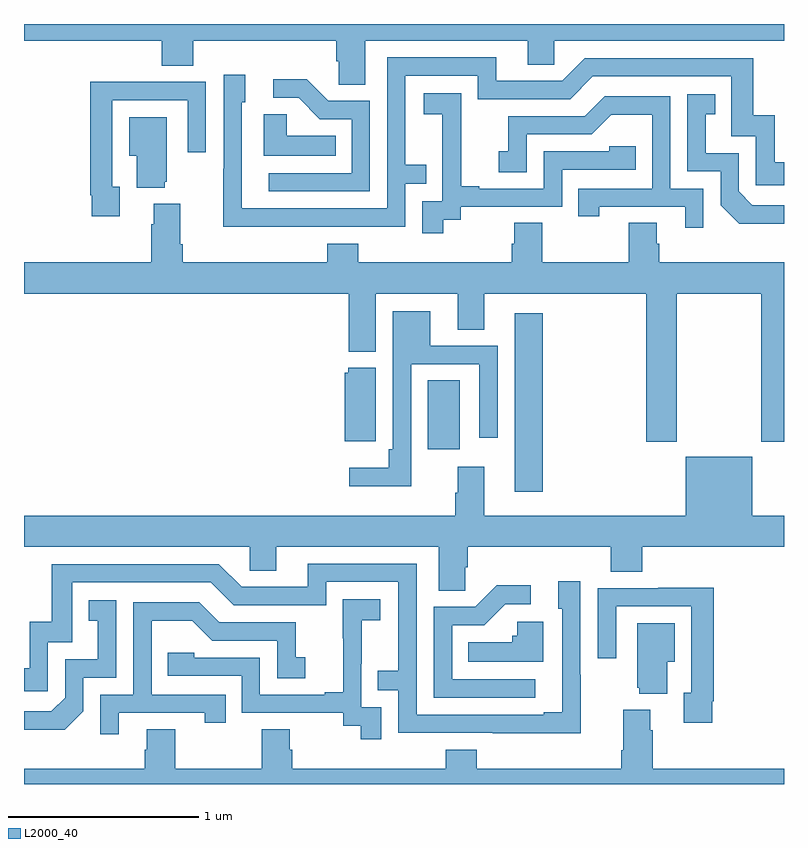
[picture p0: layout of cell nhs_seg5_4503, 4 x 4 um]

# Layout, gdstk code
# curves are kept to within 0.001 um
import gdstk
lib = gdstk.Library(unit=1e-6, precision=1e-09)
def R(c, l, rs):  # rectangles x0, y0, x1, y1
    for r in rs: c.add(gdstk.rectangle(r[:2], r[2:], *l))
def P(c, l, *ps):  # polygons
    for p in ps: c.add(gdstk.Polygon(p, *l))
L2000_40 = (2000, 40)

nhs_seg5_4503 = lib.new_cell('nhs_seg5_4503')
R(nhs_seg5_4503, L2000_40, [(377.582,902.337,377.729,903.277), (377.126,902.562,377.293,902.924)])
P(nhs_seg5_4503, L2000_40, [(376.795,904.712),(377.651,904.712),(377.651,904.585),(377.79,904.585),(377.79,904.712),(379,904.712),(379,904.799),(375,904.799),(375,904.712),(375.725,904.712),(375.725,904.579),(375.89,904.579),(375.89,904.712),(376.643,904.712),(376.643,904.603),(376.656,904.603),(376.656,904.48),(376.795,904.48)],
  [(376.511,903.732),(377.007,903.732),(377.007,903.957),(377.117,903.957),(377.117,904.058),(377.007,904.058),(377.007,904.527),(377.388,904.527),(377.388,904.404),(377.874,904.404),(377.994,904.524),(378.723,904.524),(378.723,904.209),(378.852,904.209),(378.852,903.951),(379,903.951),(379,904.071),(378.95,904.071),(378.95,904.318),(378.839,904.318),(378.839,904.62),(377.952,904.62),(377.832,904.5),(377.485,904.5),(377.485,904.623),(376.911,904.623),(376.911,903.828),(376.146,903.828),(376.146,904.386),(376.165,904.386),(376.165,904.531),(376.05,904.531),(376.05,904.037),(376.048,904.037),(376.048,903.731)],
  [(376.821,904.395),(376.602,904.395),(376.489,904.508),(376.311,904.508),(376.311,904.41),(376.445,904.41),(376.556,904.299),(376.725,904.299),(376.725,904.014),(376.287,904.014),(376.287,903.918),(376.821,903.918)],
  [(375.505,903.942),(375.465,903.942),(375.465,904.398),(375.861,904.398),(375.861,904.125),(375.957,904.125),(375.957,904.494),(375.641,904.494),(375.641,904.496),(375.349,904.496),(375.349,903.898),(375.357,903.898),(375.357,903.786),(375.505,903.786)],
  [(377.206,903.769),(377.298,903.769),(377.298,903.837),(377.832,903.837),(377.832,904.032),(378.221,904.032),(378.221,904.155),(378.081,904.155),(378.081,904.128),(377.736,904.128),(377.736,903.933),(377.395,903.933),(377.395,903.946),(377.3,903.946),(377.3,904.229),(377.301,904.229),(377.301,904.435),(377.103,904.435),(377.103,904.325),(377.201,904.325),(377.201,904.097),(377.202,904.097),(377.202,903.867),(377.097,903.867),(377.097,903.699),(377.206,903.699)],
  [(379,903.846),(378.834,903.846),(378.762,903.918),(378.762,904.119),(378.589,904.119),(378.589,904.323),(378.638,904.323),(378.638,904.429),(378.492,904.429),(378.492,904.023),(378.666,904.023),(378.666,903.846),(378.764,903.749),(379,903.749)],
  [(378.576,903.933),(378.402,903.933),(378.402,904.419),(378.056,904.419),(377.951,904.314),(377.548,904.314),(377.548,904.129),(377.499,904.129),(377.499,904.02),(377.646,904.02),(377.646,904.218),(377.988,904.218),(378.092,904.322),(378.306,904.322),(378.306,903.933),(377.917,903.933),(377.917,903.786),(378.028,903.786),(378.028,903.837),(378.479,903.837),(378.479,903.726),(378.576,903.726)],
  [(376.64,904.21),(376.383,904.21),(376.383,904.325),(376.262,904.325),(376.262,904.106),(376.64,904.106)],
  [(375.74,903.969),(375.751,903.969),(375.751,904.309),(375.554,904.309),(375.554,904.106),(375.593,904.106),(375.593,903.938),(375.74,903.938)],
  [(378.275,902.601),(378.435,902.601),(378.435,903.38),(378.88,903.38),(378.88,902.601),(379,902.601),(379,903.544),(378.344,903.544),(378.344,903.642),(378.331,903.642),(378.331,903.752),(378.184,903.752),(378.184,903.544),(377.727,903.544),(377.727,903.752),(377.579,903.752),(377.579,903.642),(377.567,903.642),(377.567,903.544),(376.76,903.544),(376.76,903.643),(376.595,903.643),(376.595,903.544),(375.836,903.544),(375.836,903.64),(375.823,903.64),(375.823,903.853),(375.683,903.853),(375.683,903.746),(375.671,903.746),(375.671,903.544),(375,903.544),(375,903.38),(376.709,903.38),(376.709,903.074),(376.852,903.074),(376.852,903.38),(377.282,903.38),(377.282,903.19),(377.422,903.19),(377.422,903.38),(378.275,903.38)],
  [(377.037,903.009),(377.397,903.009),(377.397,902.622),(377.493,902.622),(377.493,903.105),(377.137,903.105),(377.137,903.286),(376.941,903.286),(376.941,902.56),(376.921,902.56),(376.921,902.464),(376.713,902.464),(376.713,902.366),(377.037,902.366)],
  [(376.852,902.989),(376.707,902.989),(376.707,902.964),(376.688,902.964),(376.688,902.603),(376.852,902.603)],
  [(377.322,901.939),(377.336,901.939),(377.336,902.048),(378.089,902.048),(378.089,901.915),(378.254,901.915),(378.254,902.048),(379,902.048),(379,902.212),(378.832,902.212),(378.832,902.521),(378.482,902.521),(378.482,902.212),(377.422,902.212),(377.422,902.47),(377.282,902.47),(377.282,902.333),(377.27,902.333),(377.27,902.212),(375,902.212),(375,902.048),(376.188,902.048),(376.188,901.921),(376.327,901.921),(376.327,902.048),(377.183,902.048),(377.183,901.816),(377.322,901.816)],
  [(377.931,901.373),(377.928,901.373),(377.928,901.867),(377.813,901.867),(377.813,901.722),(377.832,901.722),(377.832,901.177),(377.735,901.177),(377.735,901.164),(377.067,901.164),(377.067,901.959),(376.493,901.959),(376.493,901.836),(376.146,901.836),(376.026,901.956),(375.147,901.956),(375.147,901.654),(375.029,901.654),(375.029,901.407),(375,901.407),(375,901.287),(375.126,901.287),(375.126,901.545),(375.255,901.545),(375.255,901.86),(375.984,901.86),(376.104,901.74),(376.59,901.74),(376.59,901.863),(376.971,901.863),(376.971,901.394),(376.861,901.394),(376.861,901.293),(376.971,901.293),(376.971,901.068),(377.931,901.067)],
  [(377.692,901.35),(377.253,901.35),(377.253,901.635),(377.422,901.635),(377.533,901.746),(377.668,901.746),(377.668,901.844),(377.489,901.844),(377.376,901.731),(377.157,901.731),(377.157,901.254),(377.692,901.254)],
  [(378.622,901.234),(378.629,901.234),(378.629,901.832),(378.337,901.832),(378.337,901.83),(378.021,901.83),(378.021,901.461),(378.117,901.461),(378.117,901.734),(378.513,901.734),(378.513,901.278),(378.473,901.278),(378.473,901.122),(378.622,901.122)],
  [(376.881,901.203),(376.776,901.203),(376.776,901.433),(376.778,901.433),(376.778,901.661),(376.876,901.661),(376.876,901.771),(376.678,901.771),(376.678,901.565),(376.679,901.565),(376.679,901.282),(376.583,901.282),(376.583,901.269),(376.242,901.269),(376.242,901.464),(375.897,901.464),(375.897,901.491),(375.757,901.491),(375.757,901.368),(376.146,901.368),(376.146,901.173),(376.68,901.173),(376.68,901.105),(376.773,901.105),(376.773,901.035),(376.881,901.035)],
  [(375.312,901.182),(375.312,901.359),(375.486,901.359),(375.486,901.765),(375.34,901.765),(375.34,901.659),(375.389,901.659),(375.389,901.455),(375.216,901.455),(375.216,901.254),(375.144,901.182),(375,901.182),(375,901.085),(375.214,901.085)],
  [(375.499,901.173),(375.95,901.173),(375.95,901.122),(376.061,901.122),(376.061,901.269),(375.672,901.269),(375.672,901.658),(375.886,901.658),(375.99,901.554),(376.332,901.554),(376.332,901.356),(376.48,901.356),(376.48,901.465),(376.431,901.465),(376.431,901.65),(376.027,901.65),(375.922,901.755),(375.576,901.755),(375.576,901.269),(375.402,901.269),(375.402,901.062),(375.499,901.062)],
  [(377.734,901.654),(377.595,901.654),(377.595,901.578),(377.569,901.578),(377.569,901.546),(377.338,901.546),(377.338,901.442),(377.734,901.442)],
  [(378.385,901.442),(378.424,901.442),(378.424,901.645),(378.227,901.645),(378.227,901.305),(378.239,901.305),(378.239,901.274),(378.385,901.274)],
  [(379,900.88),(378.308,900.88),(378.308,901.082),(378.295,901.082),(378.295,901.189),(378.155,901.189),(378.155,900.976),(378.143,900.976),(378.143,900.88),(377.384,900.88),(377.384,900.979),(377.219,900.979),(377.219,900.88),(376.412,900.88),(376.412,900.978),(376.399,900.978),(376.399,901.088),(376.252,901.088),(376.252,900.88),(375.795,900.88),(375.795,901.088),(375.647,901.088),(375.647,900.978),(375.635,900.978),(375.635,900.88),(375,900.88),(375,900.799),(379,900.799)])

lib.write_gds('nhs_seg5_4503.gds')
